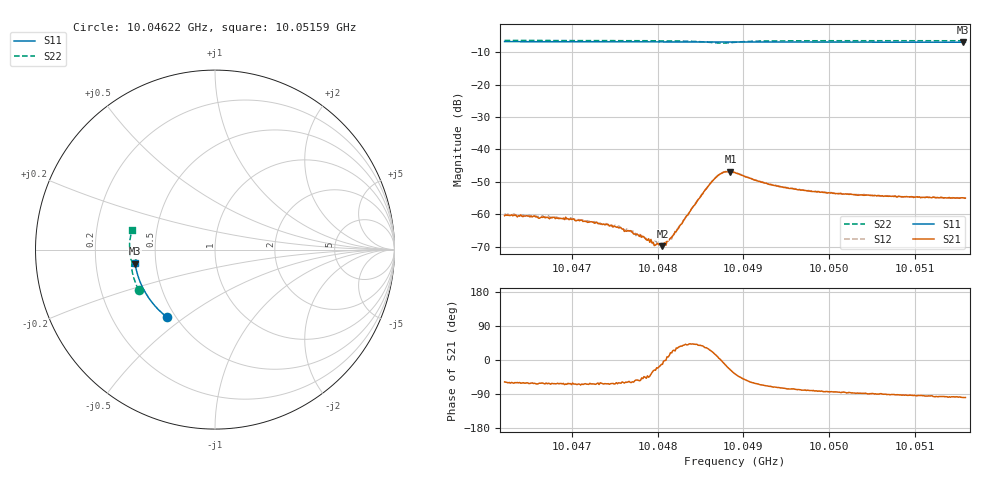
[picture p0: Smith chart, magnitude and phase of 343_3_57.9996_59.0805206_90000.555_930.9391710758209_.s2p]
#  HZ  S  RI  R  50.00
! Rohde & Schwarz Vector Network Analyzer
! Rohde-Schwarz,ZNB20-2Port,1311601062101988,3.16
! Created: UTC 3/21/2024, 1:05:42 AM
! freq[Hz]  re:S11  im:S11  re:S21  im:S21  re:S12  im:S12  re:S22  im:S22
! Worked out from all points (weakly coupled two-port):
!   401 points, 10.04622 GHz to 10.05159 GHz, reference 50 ohm
!   highest |S21| = -46.83 dB at 10.04885 GHz (marker M1); lowest = -69.8 dB at 10.04806 GHz (marker M2)
!   lowest |S11| = -6.9 dB at 10.05156 GHz (marker M3), VSWR 2.65, Z = 19 - j3.77 ohm
!   |S11| at or under -10 dB: nowhere
!   |S22| runs from -7.2 to -6.4 dB; largest |S21 - S12| = 0.00031
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1.0046216e10  -0.2701 -0.3742  0.000506 -0.000807  0.000584 -0.000845  -0.4254 -0.2251
1.0046955e10  -0.3071 -0.3422  0.000407 -0.000752  0.000437 -0.000737  -0.4452 -0.1796
1.0047116e10  -0.3146 -0.3347  0.000364 -0.000727  0.000412 -0.000702  -0.4489 -0.1691
1.0047559e10  -0.3349 -0.3135  0.000302 -0.000544  0.000343 -0.000541  -0.4577 -0.1395
1.0047707e10  -0.3412 -0.306  0.000283 -0.000444  0.000334 -0.000436  -0.4599 -0.1292
1.0047828e10  -0.3461 -0.2997  0.000299 -0.000346  0.000312 -0.000309  -0.4617 -0.1206
1.0047962e10  -0.3517 -0.2928  0.000294 -0.000146  0.000332 -0.00016  -0.4632 -0.1105
1.0048016e10  -0.3538 -0.2901  0.000322 -0.000103  0.000316 -8.66e-05  -0.4636 -0.1064
1.0048056e10  -0.3556 -0.288  0.000316 -6.36e-05  0.000355 -3.09e-05  -0.464 -0.1031
1.0048097e10  -0.3571 -0.2859  0.000332 -4.08e-06  0.000372 2.79e-05  -0.4642 -0.1
1.0048123e10  -0.3581 -0.2844  0.000387 5.44e-05  0.00038 7.41e-05  -0.4642 -0.0977
1.0048191e10  -0.3608 -0.281  0.000445 0.000215  0.000422 0.000222  -0.4643 -0.0921
1.0048499e10  -0.3725 -0.2642  0.00145 0.00116  0.00139 0.00128  -0.4562 -0.0646
1.0048647e10  -0.3775 -0.2562  0.00314 0.00113  0.0031 0.00132  -0.4412 -0.0577
1.0048755e10  -0.3809 -0.2501  0.00434 -0.00033  0.00439 -7.93e-05  -0.4324 -0.0667
1.0048849e10  -0.3843 -0.245  0.00409 -0.00201  0.0042 -0.00175  -0.4381 -0.0762
1.0048902e10  -0.3862 -0.2422  0.00355 -0.00263  0.00372 -0.0024  -0.4446 -0.0779
1.0049305e10  -0.3993 -0.219  0.001 -0.00269  0.00119 -0.00265  -0.4708 -0.0491
1.0049802e10  -0.4132 -0.1894  0.000356 -0.00223  0.000494 -0.00224  -0.4762 -0.011
1.0050702e10  -0.433 -0.134  -4.07e-05 -0.0019  7.88e-05 -0.00191  -0.4739 0.0513
1.0051562e10  -0.4449 -0.0789  -0.000284 -0.00177  -0.000168 -0.00176  -0.464 0.1078
1.0051589e10  -0.4454 -0.0771  -0.000275 -0.00175  -0.000177 -0.00175  -0.4636 0.1095
